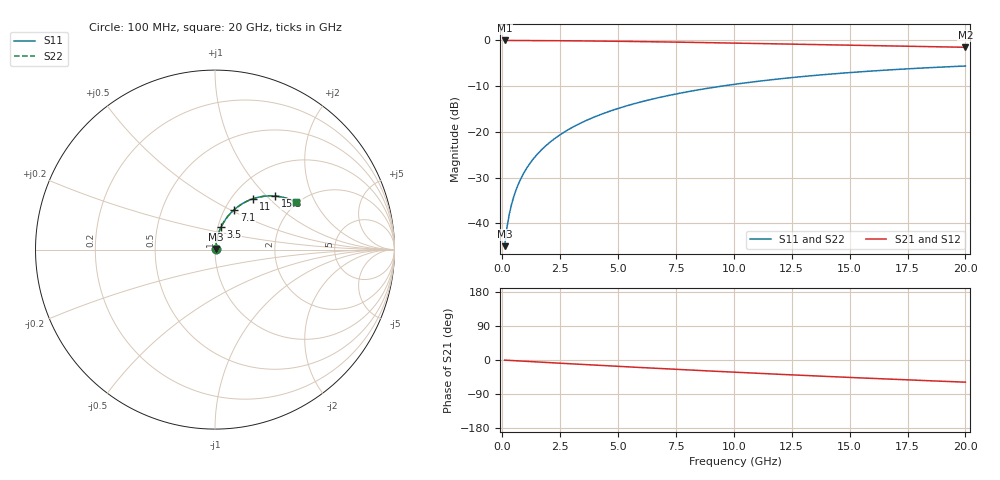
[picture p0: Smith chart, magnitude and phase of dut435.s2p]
! Touchstone file exported from HFSS 2026.1.0
!  File:  C:/ffzhzh/LocalFiles/Ansys_Project_Files/temp_train_TMRDL_435_1783005528_4048.aedt
!  Generated:  11:20:20 PM Jul  2, 2026
!  Design:  TMRDL
!  Project:  temp_train_TMRDL_435_1783005528_4048
! Variables:
!  h_bsmrdl = 2um
!  h_ox = 20um
!  h_rdl = 5um
!  h_sub = 80um
!  h_tmrdl = 4.32um
!  h_tsv = 80um
!  h_via = 3um
!  l_bsmrdl = 300um
!  l_sub = 1294.59um
!  l_tmrdl = 894.59um
!  m_sub = 200um
!  pitch = 51.77um
!  r_tsv = 6um
!  s_tmrdl = 10um
!  w_bsmrdl = 18um
!  w_sub = 500um
!  w_tmrdl = 19.27um
!  x_tsv_center1 = 904.225um
!  x_tsv_center2 = 1222.225um
!  x_tsv_center3 = 2136.085um
!  x_tsv_center4 = 2454.085um
!  x_tsv_center5 = 3367.945um
!  x_tsv_center6 = 3685.945um
# GHz S MA R 50.000000
! Terminal data exported
! Port[1] = TM_RDL1_1_T1
! Port[2] = TM_RDL1_1_T2
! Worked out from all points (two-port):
!   200 points, 100 MHz to 20 GHz, reference 50 ohm
!   highest |S21| = -0.03 dB at 100 MHz (marker M1); lowest = -1.5 dB at 20 GHz (marker M2)
!   |S21| within 3 dB of the highest: start of sweep to end of sweep
!   lowest |S11| = -45.0 dB at 100 MHz (marker M3), VSWR 1.01, Z = 50.4 + j0.402 ohm
!   |S11| at or under -10 dB: start of sweep to 9.503 GHz
!   |S22| runs from -45.0 to -5.6 dB; largest |S21 - S12| = 2.7e-15
!   S11 on the Smith chart (normalised r, x): 100 MHz: 1.01, +0.01; 3.5 GHz: 1.03, +0.26; 7.1 GHz: 1.11, +0.53; 11 GHz: 1.25, +0.81; 15.3 GHz: 1.51, +1.13; 20 GHz: 1.97, +1.43
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0.1  0.005615 45.2  0.9961 -0.4  0.9961 -0.4  0.005615 45.2
! Gamma 0 0 0 0
! Port Impedance 50 0 50 0
0.2  0.00892 61.9  0.9959 -0.7  0.9959 -0.7  0.00892 61.9
0.3  0.01248 68.8  0.9956 -1.1  0.9956 -1.1  0.01248 68.8
0.4  0.01608 72.6  0.9954 -1.4  0.9954 -1.4  0.01608 72.6
0.5  0.01971 74.9  0.9953 -1.7  0.9953 -1.7  0.01971 74.9
0.6  0.02334 76.4  0.9951 -2.1  0.9951 -2.1  0.02334 76.4
0.8  0.03066 78.3  0.9947 -2.8  0.9947 -2.8  0.03066 78.3
1.1  0.04168 79.4  0.9942 -3.8  0.9942 -3.8  0.04168 79.4
1.5  0.05639 79.6  0.9932 -5.1  0.9932 -5.1  0.05639 79.6
2.1  0.07835 78.7  0.9913 -7.1  0.9913 -7.1  0.07835 78.7
2.7  0.1001 77.3  0.9889 -9.2  0.9889 -9.2  0.1001 77.3
3.5  0.1285 75.1  0.9848 -11.8  0.9848 -11.8  0.1285 75.1
5  0.1798 70.6  0.9754 -16.7  0.9754 -16.7  0.1798 70.6
6.8  0.2377 65.2  0.9615 -22.4  0.9615 -22.4  0.2377 65.2
7.1  0.2469 64.3  0.9589 -23.4  0.9589 -23.4  0.2469 64.3
8.5  0.2883 60.2  0.9465 -27.6  0.9465 -27.6  0.2883 60.2
10.1  0.3322 55.6  0.9314 -32.4  0.9314 -32.4  0.3322 55.6
11  0.3553 53.1  0.9226 -35.0  0.9226 -35.0  0.3553 53.0
13.4  0.4111 46.5  0.8988 -41.7  0.8988 -41.7  0.4111 46.5
15.3  0.4494 41.6  0.8802 -46.8  0.8802 -46.8  0.4494 41.6
16.7  0.4745 38.1  0.867 -50.4  0.867 -50.4  0.4745 38.0
20  0.5236 30.2  0.8387 -58.5  0.8387 -58.5  0.5237 30.1
